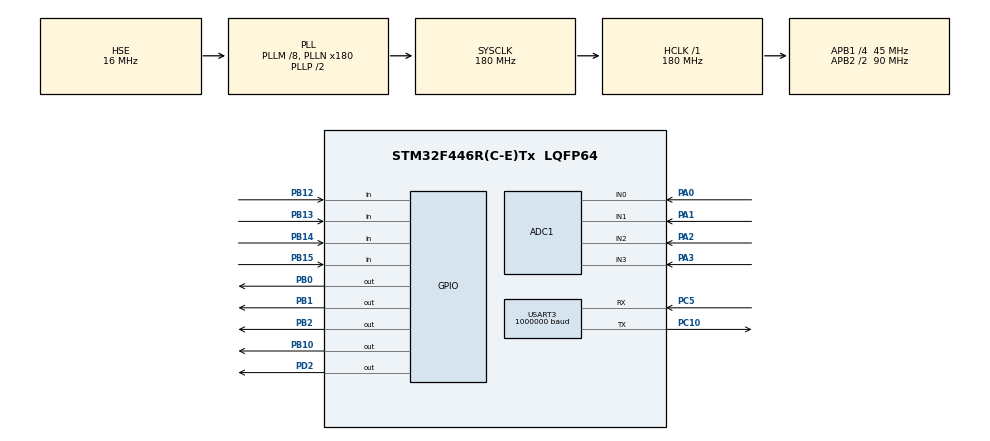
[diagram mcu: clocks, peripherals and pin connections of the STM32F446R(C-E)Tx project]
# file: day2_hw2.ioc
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ADC1.Channel-0\#ChannelRegularConversion=ADC_CHANNEL_0
ADC1.Channel-1\#ChannelRegularConversion=ADC_CHANNEL_1
ADC1.Channel-2\#ChannelRegularConversion=ADC_CHANNEL_2
ADC1.Channel-3\#ChannelRegularConversion=ADC_CHANNEL_3
ADC1.DMAContinuousRequests=ENABLE
ADC1.ExternalTrigConv=ADC_EXTERNALTRIGCONV_T8_TRGO
ADC1.NbrOfConversion=4
ADC1.NbrOfConversionFlag=1
ADC1.Rank-0\#ChannelRegularConversion=1
ADC1.Rank-1\#ChannelRegularConversion=2
ADC1.Rank-2\#ChannelRegularConversion=3
ADC1.Rank-3\#ChannelRegularConversion=4
ADC1.SamplingTime-0\#ChannelRegularConversion=ADC_SAMPLETIME_15CYCLES
ADC1.SamplingTime-1\#ChannelRegularConversion=ADC_SAMPLETIME_15CYCLES
ADC1.SamplingTime-2\#ChannelRegularConversion=ADC_SAMPLETIME_15CYCLES
ADC1.SamplingTime-3\#ChannelRegularConversion=ADC_SAMPLETIME_15CYCLES
ADC1.ScanConvMode=ENABLE
ADC1.master=1
Dma.ADC1.0.Direction=DMA_PERIPH_TO_MEMORY
Dma.ADC1.0.FIFOMode=DMA_FIFOMODE_DISABLE
Dma.ADC1.0.Instance=DMA2_Stream0
Dma.ADC1.0.MemDataAlignment=DMA_MDATAALIGN_WORD
Dma.ADC1.0.MemInc=DMA_MINC_ENABLE
Dma.ADC1.0.Mode=DMA_CIRCULAR
Dma.ADC1.0.PeriphDataAlignment=DMA_PDATAALIGN_WORD
Dma.ADC1.0.PeriphInc=DMA_PINC_DISABLE
Dma.ADC1.0.Priority=DMA_PRIORITY_LOW
Dma.Request0=ADC1
Dma.Request1=USART3_RX
Dma.USART3_RX.1.Direction=DMA_PERIPH_TO_MEMORY
Dma.USART3_RX.1.FIFOMode=DMA_FIFOMODE_DISABLE
Dma.USART3_RX.1.Instance=DMA1_Stream1
Dma.USART3_RX.1.MemDataAlignment=DMA_MDATAALIGN_BYTE
Dma.USART3_RX.1.MemInc=DMA_MINC_ENABLE
Dma.USART3_RX.1.Mode=DMA_CIRCULAR
Dma.USART3_RX.1.PeriphDataAlignment=DMA_PDATAALIGN_BYTE
Dma.USART3_RX.1.PeriphInc=DMA_PINC_DISABLE
Dma.USART3_RX.1.Priority=DMA_PRIORITY_LOW
Mcu.Family=STM32F4
Mcu.Name=STM32F446R(C-E)Tx
Mcu.Package=LQFP64
NVIC.ADC_IRQn=true\:0\:0\:false\:false\:true\:true\:true\:true
NVIC.DMA1_Stream1_IRQn=true\:0\:0\:false\:false\:true\:false\:true\:true
NVIC.DMA2_Stream0_IRQn=true\:0\:0\:false\:false\:true\:false\:true\:true
NVIC.PriorityGroup=NVIC_PRIORITYGROUP_4
NVIC.TIM6_DAC_IRQn=true\:0\:0\:false\:false\:true\:true\:true\:true
NVIC.TIM8_UP_TIM13_IRQn=true\:0\:0\:false\:false\:true\:true\:true\:true
NVIC.USART3_IRQn=true\:0\:0\:false\:false\:true\:true\:true\:true
PA0-WKUP.Signal=ADCx_IN0
PA1.Signal=ADCx_IN1
PA13.Mode=Serial_Wire
PA13.Signal=SYS_JTMS-SWDIO
PA14.Mode=Serial_Wire
PA14.Signal=SYS_JTCK-SWCLK
PA2.Signal=ADCx_IN2
PA3.Signal=ADCx_IN3
PB0.Signal=GPIO_Output
PB1.Signal=GPIO_Output
PB10.Signal=GPIO_Output
PB12.Signal=GPIO_Input
PB13.Signal=GPIO_Input
PB14.Signal=GPIO_Input
PB15.Signal=GPIO_Input
PB2.Signal=GPIO_Output
PC10.Mode=Asynchronous
PC10.Signal=USART3_TX
PC5.Mode=Asynchronous
PC5.Signal=USART3_RX
PD2.Signal=GPIO_Output
PH0-OSC_IN.Mode=HSE-External-Oscillator
PH0-OSC_IN.Signal=RCC_OSC_IN
PH1-OSC_OUT.Mode=HSE-External-Oscillator
PH1-OSC_OUT.Signal=RCC_OSC_OUT
ProjectManager.HeapSize=0x200
ProjectManager.StackSize=0x400
ProjectManager.TargetToolchain=STM32CubeIDE
RCC.AHBFreq_Value=180000000
RCC.APB1CLKDivider=RCC_HCLK_DIV4
RCC.APB1Freq_Value=45000000
RCC.APB1TimFreq_Value=90000000
RCC.APB2CLKDivider=RCC_HCLK_DIV2
RCC.APB2Freq_Value=90000000
RCC.APB2TimFreq_Value=180000000
RCC.CortexFreq_Value=180000000
RCC.HCLKFreq_Value=180000000
RCC.HSE_VALUE=16000000
RCC.PLLM=8
RCC.PLLN=180
RCC.PLLSourceVirtual=RCC_PLLSOURCE_HSE
RCC.SYSCLKFreq_VALUE=180000000
RCC.SYSCLKSource=RCC_SYSCLKSOURCE_PLLCLK
RCC.USBFreq_Value=180000000
RCC.VCOOutputFreq_Value=360000000
SH.ADCx_IN0.0=ADC1_IN0,IN0
SH.ADCx_IN1.0=ADC1_IN1,IN1
SH.ADCx_IN2.0=ADC1_IN2,IN2
SH.ADCx_IN3.0=ADC1_IN3,IN3
TIM6.Period=100-1
TIM6.Prescaler=90-1
TIM8.Period=10000-1
TIM8.Prescaler=180-1
TIM8.TIM_MasterOutputTrigger=TIM_TRGO_UPDATE
USART3.BaudRate=1000000
USART3.VirtualMode=VM_ASYNC
VP_TIM6_VS_ClockSourceINT.Mode=Enable_Timer
VP_TIM8_VS_ClockSourceINT.Mode=Internal
board=custom

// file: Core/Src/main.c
/* USER CODE BEGIN Header */
/**
  ******************************************************************************
  * @file           : main.c
  * @brief          : Main program body
  ******************************************************************************
  * @attention
  *
  * Copyright (c) 2026 STMicroelectronics.
  * All rights reserved.
  *
  * This software is licensed under terms that can be found in the LICENSE file
  * in the root directory of this software component.
  * If no LICENSE file comes with this software, it is provided AS-IS.
  *
  ******************************************************************************
  */
/* USER CODE END Header */
#include "main.h"

ADC_HandleTypeDef hadc1;
DMA_HandleTypeDef hdma_adc1;

TIM_HandleTypeDef htim6;
TIM_HandleTypeDef htim8;

void SystemClock_Config(void);
static void MX_GPIO_Init(void);
static void MX_DMA_Init(void);
static void MX_ADC1_Init(void);
static void MX_TIM8_Init(void);
static void MX_TIM6_Init(void);
static void MX_USART3_UART_Init(void);

/* USER CODE BEGIN 0 */
// ===== Dynamixel Protocol 2.0 (MX-106) =====
#define DXL_ID                  14   // 제어할 모터 ID
#define DXL_ADDR_TORQUE_ENABLE  64   // Torque Enable (1바이트)
#define DXL_ADDR_GOAL_POSITION 116   // Goal Position (4바이트)
#define DXL_INST_WRITE        0x03   // Write Instruction

#define SW_ACTIVE GPIO_PIN_RESET // 스위치를 눌렀을 때의 핀 상태 (Active Low)

// 스위치가 명령할 목표 위치 (Goal Position raw 값, 0~4095 = 0~360도).
// 0/90/180도 세 값만 쓰므로 매번 변환하지 않고 미리 계산된 값을 그대로 쓴다.
// (4096 * 각도 / 360: 0도->0, 90도->1024, 180도->2048)
#define POS_PB12  1024  // 90도
#define POS_PB13  2048  // 180도
#define POS_PB14     0  // 0도

// Protocol 2.0 CRC-16 테이블. poly=0x8005 기반 표준 테이블을 그대로 사용한다.
// (다르게 구현하면 모터가 CRC 불일치로 패킷을 그냥 무시해버린다)
static const uint16_t dxl_crc_table[256] = {
  0x0000, 0x8005, 0x800F, 0x000A, 0x801B, 0x001E, 0x0014, 0x8011,
  0x8033, 0x0036, 0x003C, 0x8039, 0x0028, 0x802D, 0x8027, 0x0022,
  0x8063, 0x0066, 0x006C, 0x8069, 0x0078, 0x807D, 0x8077, 0x0072,
  0x0050, 0x8055, 0x805F, 0x005A, 0x804B, 0x004E, 0x0044, 0x8041,
  0x80C3, 0x00C6, 0x00CC, 0x80C9, 0x00D8, 0x80DD, 0x80D7, 0x00D2,
  0x00F0, 0x80F5, 0x80FF, 0x00FA, 0x80EB, 0x00EE, 0x00E4, 0x80E1,
  0x00A0, 0x80A5, 0x80AF, 0x00AA, 0x80BB, 0x00BE, 0x00B4, 0x80B1,
  0x8093, 0x0096, 0x009C, 0x8099, 0x0088, 0x808D, 0x8087, 0x0082,
  0x8183, 0x0186, 0x018C, 0x8189, 0x0198, 0x819D, 0x8197, 0x0192,
  0x01B0, 0x81B5, 0x81BF, 0x01BA, 0x81AB, 0x01AE, 0x01A4, 0x81A1,
  0x01E0, 0x81E5, 0x81EF, 0x01EA, 0x81FB, 0x01FE, 0x01F4, 0x81F1,
  0x81D3, 0x01D6, 0x01DC, 0x81D9, 0x01C8, 0x81CD, 0x81C7, 0x01C2,
  0x0140, 0x8145, 0x814F, 0x014A, 0x815B, 0x015E, 0x0154, 0x8151,
  0x8173, 0x0176, 0x017C, 0x8179, 0x0168, 0x816D, 0x8167, 0x0162,
  0x8123, 0x0126, 0x012C, 0x8129, 0x0138, 0x813D, 0x8137, 0x0132,
  0x0110, 0x8115, 0x811F, 0x011A, 0x810B, 0x010E, 0x0104, 0x8101,
  0x8303, 0x0306, 0x030C, 0x8309, 0x0318, 0x831D, 0x8317, 0x0312,
  0x0330, 0x8335, 0x833F, 0x033A, 0x832B, 0x032E, 0x0324, 0x8321,
  0x0360, 0x8365, 0x836F, 0x036A, 0x837B, 0x037E, 0x0374, 0x8371,
  0x8353, 0x0356, 0x035C, 0x8359, 0x0348, 0x834D, 0x8347, 0x0342,
  0x03C0, 0x83C5, 0x83CF, 0x03CA, 0x83DB, 0x03DE, 0x03D4, 0x83D1,
  0x83F3, 0x03F6, 0x03FC, 0x83F9, 0x03E8, 0x83ED, 0x83E7, 0x03E2,
  0x83A3, 0x03A6, 0x03AC, 0x83A9, 0x03B8, 0x83BD, 0x83B7, 0x03B2,
  0x0390, 0x8395, 0x839F, 0x039A, 0x838B, 0x038E, 0x0384, 0x8381,
  0x0280, 0x8285, 0x828F, 0x028A, 0x829B, 0x029E, 0x0294, 0x8291,
  0x82B3, 0x02B6, 0x02BC, 0x82B9, 0x02A8, 0x82AD, 0x82A7, 0x02A2,
  0x82E3, 0x02E6, 0x02EC, 0x82E9, 0x02F8, 0x82FD, 0x82F7, 0x02F2,
  0x02D0, 0x82D5, 0x82DF, 0x02DA, 0x82CB, 0x02CE, 0x02C4, 0x82C1,
  0x8243, 0x0246, 0x024C, 0x8249, 0x0258, 0x825D, 0x8257, 0x0252,
  0x0270, 0x8275, 0x827F, 0x027A, 0x826B, 0x026E, 0x0264, 0x8261,
  0x0220, 0x8225, 0x822F, 0x022A, 0x823B, 0x023E, 0x0234, 0x8231,
  0x8213, 0x0216, 0x021C, 0x8219, 0x0208, 0x820D, 0x8207, 0x0202,
};

static uint16_t dxl_update_crc(uint16_t crc_accum, const uint8_t *buf, uint16_t len)
{
  for (uint16_t j = 0; j < len; j++) {
    uint16_t i = ((crc_accum >> 8) ^ buf[j]) & 0xFF;
    crc_accum = (crc_accum << 8) ^ dxl_crc_table[i];
  }
  return crc_accum;
}

// buf를 그대로 USART3로 내보낸다. DMA 없이 폴링으로, 한 바이트씩 TXE(송신
// 레지스터 빈 상태)를 기다렸다가 넣고, 마지막에는 TC(전송 완료)까지 기다린다.
static void usart3_send(const uint8_t *buf, uint16_t len)
{
  for (uint16_t i = 0; i < len; i++) {
    while (!LL_USART_IsActiveFlag_TXE(USART3));
    LL_USART_TransmitData8(USART3, buf[i]);
  }
  while (!LL_USART_IsActiveFlag_TC(USART3));
}

// Write Instruction Packet(0x03)을 만들어서 보낸다.
// Instruction Packet 구조: Header(3) Reserved(1) ID(1) Len_L Len_H Instruction Param... CRC_L CRC_H
// Write의 Param은 [주소_L, 주소_H, 쓸 데이터...] 순서다.
// CRC는 Header 포함 CRC 필드 직전까지 전체를 대상으로 계산한다.
static void dxl_write(uint8_t id, uint16_t addr, const uint8_t *data, uint16_t data_len)
{
  uint8_t pkt[16];
  uint16_t n = 0;

  uint16_t param_len = 2 + data_len;          // 주소 2바이트 + 데이터
  uint16_t length     = 1 + param_len + 2;    // Instruction(1) + Param + CRC(2)

  pkt[n++] = 0xFF; pkt[n++] = 0xFF; pkt[n++] = 0xFD; // Header
  pkt[n++] = 0x00;                                    // Reserved
  pkt[n++] = id;
  pkt[n++] = length & 0xFF;
  pkt[n++] = (length >> 8) & 0xFF;
  pkt[n++] = DXL_INST_WRITE;
  pkt[n++] = addr & 0xFF;
  pkt[n++] = (addr >> 8) & 0xFF;
  for (uint16_t i = 0; i < data_len; i++) {
    pkt[n++] = data[i];
  }

  uint16_t crc = dxl_update_crc(0, pkt, n);
  pkt[n++] = crc & 0xFF;
  pkt[n++] = (crc >> 8) & 0xFF;

  usart3_send(pkt, n);
}

static void dxl_set_torque(uint8_t id, uint8_t on)
{
  dxl_write(id, DXL_ADDR_TORQUE_ENABLE, &on, 1);
}

static void dxl_set_goal_position(uint8_t id, uint16_t raw)
{
  uint8_t data[4] = {
    (uint8_t)( raw       & 0xFF),
    (uint8_t)((raw >> 8) & 0xFF),
    0, 0, // Goal Position은 4바이트지만 0~4095 범위라 상위 2바이트는 항상 0
  };
  dxl_write(id, DXL_ADDR_GOAL_POSITION, data, 4);
}

// 스위치가 눌리는 순간(에지)에만 명령을 한 번 보내기 위한 이전 상태
static uint8_t pb12_prev = 0, pb13_prev = 0, pb14_prev = 0;
/* USER CODE END 0 */

int main(void)
{

  /* MCU Configuration--------------------------------------------------------*/

  /* Reset of all peripherals, Initializes the Flash interface and the Systick. */
  HAL_Init();

  /* Configure the system clock */
  SystemClock_Config();

  /* Initialize all configured peripherals */
  MX_GPIO_Init();
  MX_DMA_Init();
  MX_ADC1_Init();
  MX_TIM8_Init();
  MX_TIM6_Init();
  MX_USART3_UART_Init();
  /* USER CODE BEGIN 2 */
  dxl_set_torque(DXL_ID, 1); // 토크를 켜야 Goal Position 명령대로 실제로 움직인다
  /* USER CODE END 2 */

  /* Infinite loop */
  while (1)
  {

    /* USER CODE BEGIN 3 */
    uint8_t pb12 = (HAL_GPIO_ReadPin(GPIOB, GPIO_PIN_12) == SW_ACTIVE);
    uint8_t pb13 = (HAL_GPIO_ReadPin(GPIOB, GPIO_PIN_13) == SW_ACTIVE);
    uint8_t pb14 = (HAL_GPIO_ReadPin(GPIOB, GPIO_PIN_14) == SW_ACTIVE);

    // 눌리지 않다가 눌린 순간(0 -> 1)에만 한 번 명령을 보낸다
    if (pb12 && !pb12_prev) dxl_set_goal_position(DXL_ID, POS_PB12);
    if (pb13 && !pb13_prev) dxl_set_goal_position(DXL_ID, POS_PB13);
    if (pb14 && !pb14_prev) dxl_set_goal_position(DXL_ID, POS_PB14);

    pb12_prev = pb12;
    pb13_prev = pb13;
    pb14_prev = pb14;

    HAL_Delay(10); // 간단한 디바운스
  }
  /* USER CODE END 3 */
}

void SystemClock_Config(void)
{
  RCC_OscInitTypeDef RCC_OscInitStruct = {0};
  RCC_ClkInitTypeDef RCC_ClkInitStruct = {0};

  /** Configure the main internal regulator output voltage
  */
  __HAL_RCC_PWR_CLK_ENABLE();
  __HAL_PWR_VOLTAGESCALING_CONFIG(PWR_REGULATOR_VOLTAGE_SCALE1);

  /** Initializes the RCC Oscillators according to the specified parameters
  * in the RCC_OscInitTypeDef structure.
  */
  RCC_OscInitStruct.OscillatorType = RCC_OSCILLATORTYPE_HSE;
  RCC_OscInitStruct.HSEState = RCC_HSE_ON;
  RCC_OscInitStruct.PLL.PLLState = RCC_PLL_ON;
  RCC_OscInitStruct.PLL.PLLSource = RCC_PLLSOURCE_HSE;
  RCC_OscInitStruct.PLL.PLLM = 8;
  RCC_OscInitStruct.PLL.PLLN = 180;
  RCC_OscInitStruct.PLL.PLLP = RCC_PLLP_DIV2;
  RCC_OscInitStruct.PLL.PLLQ = 2;
  RCC_OscInitStruct.PLL.PLLR = 2;
  if (HAL_RCC_OscConfig(&RCC_OscInitStruct) != HAL_OK)
  {
    Error_Handler();
  }

  /** Activate the Over-Drive mode
  */
  if (HAL_PWREx_EnableOverDrive() != HAL_OK)
  {
    Error_Handler();
  }

  /** Initializes the CPU, AHB and APB buses clocks
  */
  RCC_ClkInitStruct.ClockType = RCC_CLOCKTYPE_HCLK|RCC_CLOCKTYPE_SYSCLK
                              |RCC_CLOCKTYPE_PCLK1|RCC_CLOCKTYPE_PCLK2;
  RCC_ClkInitStruct.SYSCLKSource = RCC_SYSCLKSOURCE_PLLCLK;
  RCC_ClkInitStruct.AHBCLKDivider = RCC_SYSCLK_DIV1;
  RCC_ClkInitStruct.APB1CLKDivider = RCC_HCLK_DIV4;
  RCC_ClkInitStruct.APB2CLKDivider = RCC_HCLK_DIV2;

  if (HAL_RCC_ClockConfig(&RCC_ClkInitStruct, FLASH_LATENCY_5) != HAL_OK)
  {
    Error_Handler();
  }
}

static void MX_ADC1_Init(void)
{

  ADC_ChannelConfTypeDef sConfig = {0};

  /** Configure the global features of the ADC (Clock, Resolution, Data Alignment and number of conversion)
  */
  hadc1.Instance = ADC1;
  hadc1.Init.ClockPrescaler = ADC_CLOCK_SYNC_PCLK_DIV4;
  hadc1.Init.Resolution = ADC_RESOLUTION_12B;
  hadc1.Init.ScanConvMode = ENABLE;
  hadc1.Init.ContinuousConvMode = DISABLE;
  hadc1.Init.DiscontinuousConvMode = DISABLE;
  hadc1.Init.ExternalTrigConvEdge = ADC_EXTERNALTRIGCONVEDGE_RISING;
  hadc1.Init.ExternalTrigConv = ADC_EXTERNALTRIGCONV_T8_TRGO;
  hadc1.Init.DataAlign = ADC_DATAALIGN_RIGHT;
  hadc1.Init.NbrOfConversion = 4;
  hadc1.Init.DMAContinuousRequests = ENABLE;
  hadc1.Init.EOCSelection = ADC_EOC_SINGLE_CONV;
  if (HAL_ADC_Init(&hadc1) != HAL_OK)
  {
    Error_Handler();
  }

  /** Configure for the selected ADC regular channel its corresponding rank in the sequencer and its sample time.
  */
  sConfig.Channel = ADC_CHANNEL_0;
  sConfig.Rank = 1;
  sConfig.SamplingTime = ADC_SAMPLETIME_15CYCLES;
  if (HAL_ADC_ConfigChannel(&hadc1, &sConfig) != HAL_OK)
  {
    Error_Handler();
  }

  /** Configure for the selected ADC regular channel its corresponding rank in the sequencer and its sample time.
  */
  sConfig.Channel = ADC_CHANNEL_1;
  sConfig.Rank = 2;
  if (HAL_ADC_ConfigChannel(&hadc1, &sConfig) != HAL_OK)
  {
    Error_Handler();
  }

  /** Configure for the selected ADC regular channel its corresponding rank in the sequencer and its sample time.
  */
  sConfig.Channel = ADC_CHANNEL_2;
  sConfig.Rank = 3;
  if (HAL_ADC_ConfigChannel(&hadc1, &sConfig) != HAL_OK)
  {
    Error_Handler();
  }

  /** Configure for the selected ADC regular channel its corresponding rank in the sequencer and its sample time.
  */
  sConfig.Channel = ADC_CHANNEL_3;
  sConfig.Rank = 4;
  if (HAL_ADC_ConfigChannel(&hadc1, &sConfig) != HAL_OK)
  {
    Error_Handler();
  }

}

static void MX_TIM6_Init(void)
{

  TIM_MasterConfigTypeDef sMasterConfig = {0};

  htim6.Instance = TIM6;
  htim6.Init.Prescaler = 90-1;
  htim6.Init.CounterMode = TIM_COUNTERMODE_UP;
  htim6.Init.Period = 100-1;
  htim6.Init.AutoReloadPreload = TIM_AUTORELOAD_PRELOAD_DISABLE;
  if (HAL_TIM_Base_Init(&htim6) != HAL_OK)
  {
    Error_Handler();
  }
  sMasterConfig.MasterOutputTrigger = TIM_TRGO_RESET;
  sMasterConfig.MasterSlaveMode = TIM_MASTERSLAVEMODE_DISABLE;
  if (HAL_TIMEx_MasterConfigSynchronization(&htim6, &sMasterConfig) != HAL_OK)
  {
    Error_Handler();
  }

}

static void MX_TIM8_Init(void)
{

  TIM_ClockConfigTypeDef sClockSourceConfig = {0};
  TIM_MasterConfigTypeDef sMasterConfig = {0};

  htim8.Instance = TIM8;
  htim8.Init.Prescaler = 180-1;
  htim8.Init.CounterMode = TIM_COUNTERMODE_UP;
  htim8.Init.Period = 10000-1;
  htim8.Init.ClockDivision = TIM_CLOCKDIVISION_DIV1;
  htim8.Init.RepetitionCounter = 0;
  htim8.Init.AutoReloadPreload = TIM_AUTORELOAD_PRELOAD_DISABLE;
  if (HAL_TIM_Base_Init(&htim8) != HAL_OK)
  {
    Error_Handler();
  }
  sClockSourceConfig.ClockSource = TIM_CLOCKSOURCE_INTERNAL;
  if (HAL_TIM_ConfigClockSource(&htim8, &sClockSourceConfig) != HAL_OK)
  {
    Error_Handler();
  }
  sMasterConfig.MasterOutputTrigger = TIM_TRGO_UPDATE;
  sMasterConfig.MasterSlaveMode = TIM_MASTERSLAVEMODE_DISABLE;
  if (HAL_TIMEx_MasterConfigSynchronization(&htim8, &sMasterConfig) != HAL_OK)
  {
    Error_Handler();
  }

}

static void MX_USART3_UART_Init(void)
{

  LL_USART_InitTypeDef USART_InitStruct = {0};

  LL_GPIO_InitTypeDef GPIO_InitStruct = {0};

  /* Peripheral clock enable */
  LL_APB1_GRP1_EnableClock(LL_APB1_GRP1_PERIPH_USART3);

  LL_AHB1_GRP1_EnableClock(LL_AHB1_GRP1_PERIPH_GPIOC);
  /**USART3 GPIO Configuration
  PC5   ------> USART3_RX
  PC10   ------> USART3_TX
  */
  GPIO_InitStruct.Pin = LL_GPIO_PIN_5|LL_GPIO_PIN_10;
  GPIO_InitStruct.Mode = LL_GPIO_MODE_ALTERNATE;
  GPIO_InitStruct.Speed = LL_GPIO_SPEED_FREQ_VERY_HIGH;
  GPIO_InitStruct.OutputType = LL_GPIO_OUTPUT_PUSHPULL;
  GPIO_InitStruct.Pull = LL_GPIO_PULL_NO;
  GPIO_InitStruct.Alternate = LL_GPIO_AF_7;
  LL_GPIO_Init(GPIOC, &GPIO_InitStruct);

  /* USART3 DMA Init */

  /* USART3_RX Init */
  LL_DMA_SetChannelSelection(DMA1, LL_DMA_STREAM_1, LL_DMA_CHANNEL_4);

  LL_DMA_SetDataTransferDirection(DMA1, LL_DMA_STREAM_1, LL_DMA_DIRECTION_PERIPH_TO_MEMORY);

  LL_DMA_SetStreamPriorityLevel(DMA1, LL_DMA_STREAM_1, LL_DMA_PRIORITY_LOW);

  LL_DMA_SetMode(DMA1, LL_DMA_STREAM_1, LL_DMA_MODE_CIRCULAR);

  LL_DMA_SetPeriphIncMode(DMA1, LL_DMA_STREAM_1, LL_DMA_PERIPH_NOINCREMENT);

  LL_DMA_SetMemoryIncMode(DMA1, LL_DMA_STREAM_1, LL_DMA_MEMORY_INCREMENT);

  LL_DMA_SetPeriphSize(DMA1, LL_DMA_STREAM_1, LL_DMA_PDATAALIGN_BYTE);

  LL_DMA_SetMemorySize(DMA1, LL_DMA_STREAM_1, LL_DMA_MDATAALIGN_BYTE);

  LL_DMA_DisableFifoMode(DMA1, LL_DMA_STREAM_1);

  /* USART3 interrupt Init */
  NVIC_SetPriority(USART3_IRQn, NVIC_EncodePriority(NVIC_GetPriorityGrouping(),0, 0));
  NVIC_EnableIRQ(USART3_IRQn);

  USART_InitStruct.BaudRate = 1000000;
  USART_InitStruct.DataWidth = LL_USART_DATAWIDTH_8B;
  USART_InitStruct.StopBits = LL_USART_STOPBITS_1;
  USART_InitStruct.Parity = LL_USART_PARITY_NONE;
  USART_InitStruct.TransferDirection = LL_USART_DIRECTION_TX_RX;
  USART_InitStruct.HardwareFlowControl = LL_USART_HWCONTROL_NONE;
  USART_InitStruct.OverSampling = LL_USART_OVERSAMPLING_16;
  LL_USART_Init(USART3, &USART_InitStruct);
  LL_USART_ConfigAsyncMode(USART3);
  LL_USART_Enable(USART3);

}

static void MX_DMA_Init(void)
{

  /* DMA controller clock enable */
  __HAL_RCC_DMA2_CLK_ENABLE();
  __HAL_RCC_DMA1_CLK_ENABLE();

  /* DMA interrupt init */
  /* DMA1_Stream1_IRQn interrupt configuration */
  NVIC_SetPriority(DMA1_Stream1_IRQn, NVIC_EncodePriority(NVIC_GetPriorityGrouping(),0, 0));
  NVIC_EnableIRQ(DMA1_Stream1_IRQn);
  /* DMA2_Stream0_IRQn interrupt configuration */
  HAL_NVIC_SetPriority(DMA2_Stream0_IRQn, 0, 0);
  HAL_NVIC_EnableIRQ(DMA2_Stream0_IRQn);

}

static void MX_GPIO_Init(void)
{
  GPIO_InitTypeDef GPIO_InitStruct = {0};

  /* GPIO Ports Clock Enable */
  __HAL_RCC_GPIOH_CLK_ENABLE();
  __HAL_RCC_GPIOA_CLK_ENABLE();
  __HAL_RCC_GPIOC_CLK_ENABLE();
  __HAL_RCC_GPIOB_CLK_ENABLE();
  __HAL_RCC_GPIOD_CLK_ENABLE();

  /*Configure GPIO pin Output Level */
  HAL_GPIO_WritePin(GPIOB, GPIO_PIN_0|GPIO_PIN_1|GPIO_PIN_2|GPIO_PIN_10, GPIO_PIN_RESET);

  /*Configure GPIO pin Output Level */
  HAL_GPIO_WritePin(GPIOD, GPIO_PIN_2, GPIO_PIN_RESET);

  /*Configure GPIO pins : PB0 PB1 PB2 PB10 */
  GPIO_InitStruct.Pin = GPIO_PIN_0|GPIO_PIN_1|GPIO_PIN_2|GPIO_PIN_10;
  GPIO_InitStruct.Mode = GPIO_MODE_OUTPUT_PP;
  GPIO_InitStruct.Pull = GPIO_NOPULL;
  GPIO_InitStruct.Speed = GPIO_SPEED_FREQ_LOW;
  HAL_GPIO_Init(GPIOB, &GPIO_InitStruct);

  /*Configure GPIO pins : PB12 PB13 PB14 PB15 */
  GPIO_InitStruct.Pin = GPIO_PIN_12|GPIO_PIN_13|GPIO_PIN_14|GPIO_PIN_15;
  GPIO_InitStruct.Mode = GPIO_MODE_INPUT;
  GPIO_InitStruct.Pull = GPIO_NOPULL;
  HAL_GPIO_Init(GPIOB, &GPIO_InitStruct);

  /*Configure GPIO pin : PD2 */
  GPIO_InitStruct.Pin = GPIO_PIN_2;
  GPIO_InitStruct.Mode = GPIO_MODE_OUTPUT_PP;
  GPIO_InitStruct.Pull = GPIO_NOPULL;
  GPIO_InitStruct.Speed = GPIO_SPEED_FREQ_LOW;
  HAL_GPIO_Init(GPIOD, &GPIO_InitStruct);

}

void Error_Handler(void)
{
  __disable_irq();
  while (1)
  {
  }
}
